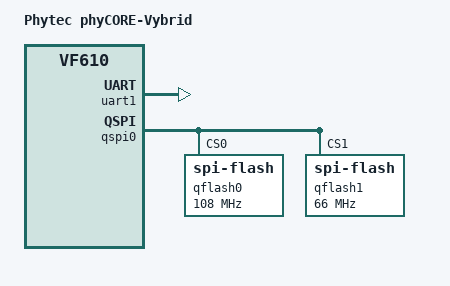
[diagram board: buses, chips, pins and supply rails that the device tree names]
// SPDX-License-Identifier: GPL-2.0+ OR X11
/*
 * Copyright 2016 Toradex AG
 */

/dts-v1/;
#include "vf.dtsi"

/ {
	model = "Phytec phyCORE-Vybrid";
	compatible = "phytec,pcm052", "fsl,vf610";

	chosen {
		stdout-path = &uart1;
	};

	aliases {
		spi0 = &qspi0;
	};

};

&uart1 {
	status = "okay";
};

&qspi0 {
	bus-num = <0>;
	num-cs = <2>;
	status = "okay";

	qflash0: spi_flash@0 {
		#address-cells = <1>;
		#size-cells = <1>;
		compatible = "spi-flash";
		spi-max-frequency = <108000000>;
		reg = <0>;
	};

	qflash1: spi_flash@1 {
		#address-cells = <1>;
		#size-cells = <1>;
		compatible = "spi-flash";
		spi-max-frequency = <66000000>;
		reg = <1>;
	};
};
